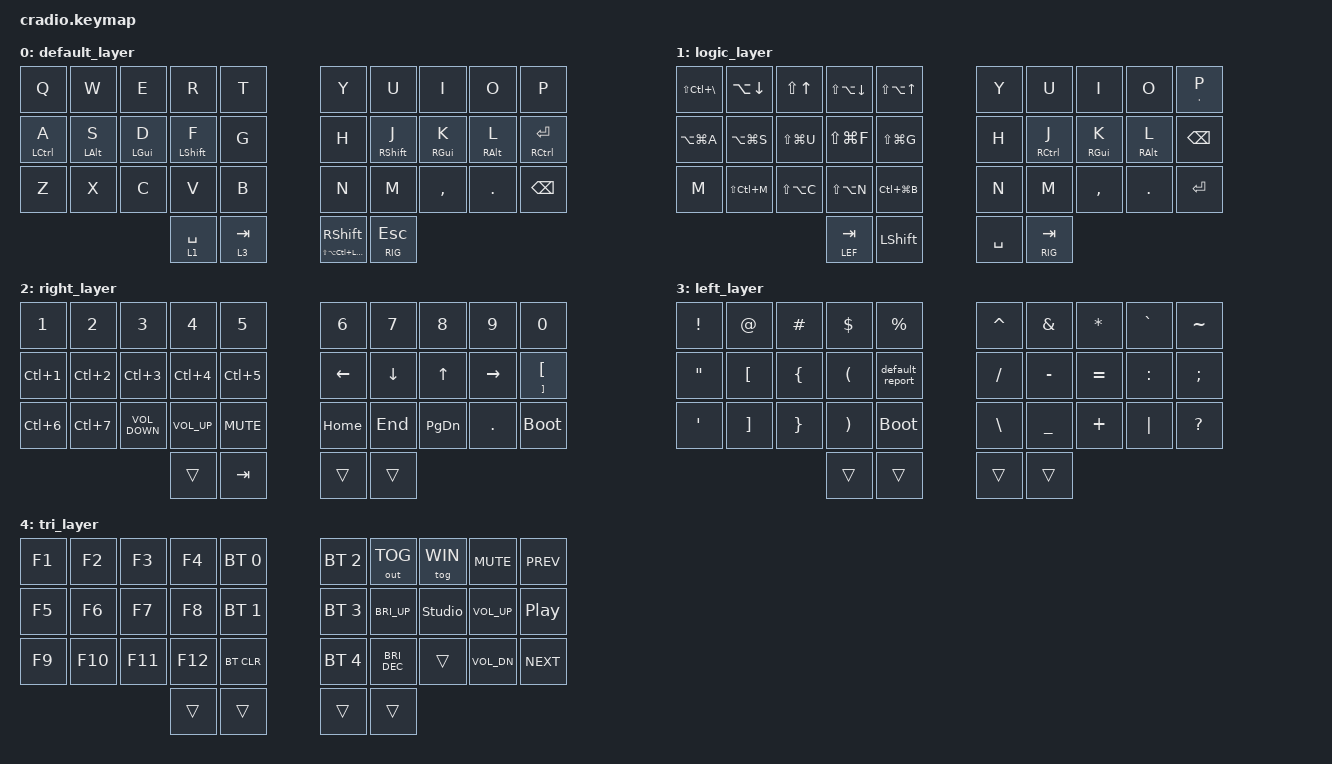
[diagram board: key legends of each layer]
// Copyright (c) 2022 The ZMK Contributors
// SPDX-License-Identifier: MIT

#include <behaviors.dtsi>
#include <dt-bindings/zmk/bt.h>
#include <dt-bindings/zmk/keys.h>
#include <dt-bindings/zmk/outputs.h>

#define MAC 0
#define WIN 1
#define RIG 2
#define LEF 3
#define TRI 4

/ {
    chosen { zmk,charmap = &charmap_us; };

    behaviors {
        ht: hold_tap {
            label = "hold_tap";
            compatible = "zmk,behavior-hold-tap";
            #binding-cells = <2>;
            flavor = "tap-preferred";
            tapping-term-ms = <200>;
            quick-tap-ms = <0>;
            global-quick-tap;
            bindings = <&kp>, <&kp>;
        };

        hml: homerow_mods_left {
            compatible = "zmk,behavior-hold-tap";
            label = "HOMEROW_MODS_LEFT";
            bindings = <&kp>, <&kp>;

            #binding-cells = <2>;
            tapping-term-ms = <190>;
            quick-tap-ms = <200>;
            require-prior-idle-ms = <170>;
            hold-trigger-key-positions = <5 9 15 16 17 18 19 25 26 27 28 29 32 33 8 7 6>;
            flavor = "tap-preferred";
            hold-trigger-on-release;
        };

        hmr: homerow_mods_right {
            compatible = "zmk,behavior-hold-tap";
            label = "HOMEROW_MODS_RIGHT";
            bindings = <&kp>, <&kp>;

            #binding-cells = <2>;
            tapping-term-ms = <193>;
            quick-tap-ms = <200>;
            require-prior-idle-ms = <170>;
            hold-trigger-key-positions = <0 1 3 4 10 11 12 13 14 20 21 22 23 24 30 31>;
            flavor = "tap-preferred";
            hold-trigger-on-release;
        };

        td0: tap_dance_0 {
            compatible = "zmk,behavior-tap-dance";
            label = "TAP_DANCE_0";
            #binding-cells = <0>;
            bindings = <&kp P>, <&kp P>, <&kp APOS>;

            tapping-term-ms = <183>;
        };

        ht1: ht1 {
            compatible = "zmk,behavior-hold-tap";
            label = "HT1";
            bindings = <&kp>, <&kp>;

            #binding-cells = <2>;
            flavor = "tap-preferred";
            quick-tap-ms = <0>;
            require-prior-idle-ms = <0>;
            tapping-term-ms = <287>;
            hold-trigger-on-release;
        };

        hmla: homerow_mods_a_key {
            compatible = "zmk,behavior-hold-tap";
            label = "HOMEROW_MODS_A";
            bindings = <&kp>, <&kp>;

            #binding-cells = <2>;
            tapping-term-ms = <210>;
            quick-tap-ms = <200>;
            require-prior-idle-ms = <185>;
            hold-trigger-key-positions = <5 9 15 16 17 18 19 25 26 27 28 29 32 33 8 7 6>;
            flavor = "tap-preferred";
            hold-trigger-on-release;
        };

        hmrc: homerow_mods_custom {
            compatible = "zmk,behavior-hold-tap";
            label = "HOMEROW_MODS_CUSTOM";
            bindings = <&kp>, <&kp>;

            #binding-cells = <2>;
            tapping-term-ms = <250>;
            quick-tap-ms = <200>;
            require-prior-idle-ms = <185>;
            flavor = "tap-preferred";
            hold-trigger-key-positions = <0 1 2 3 4 10 11 12 13 14 20 21 22 23 24 30 31>;
            hold-trigger-on-release;
        };

        hmls: homerow_mods_s_key {
            compatible = "zmk,behavior-hold-tap";
            label = "HOMEROW_MODS_S_KEY";
            bindings = <&kp>, <&kp>;

            #binding-cells = <2>;
            tapping-term-ms = <209>;
            quick-tap-ms = <100>;
            require-prior-idle-ms = <0>;
            hold-trigger-key-positions = <5 9 15 16 17 18 19 25 26 27 28 29 32 33 8 7 6>;
            flavor = "tap-preferred";
            hold-trigger-on-release;
        };

        ht2: ht2 {
            compatible = "zmk,behavior-hold-tap";
            label = "HT2";
            bindings = <&kp>, <&kp>;

            #binding-cells = <2>;
            tapping-term-ms = <293>;
            hold-trigger-on-release;
        };

        ht3: ht3 {
            compatible = "zmk,behavior-hold-tap";
            label = "HT3";
            bindings = <&mo>, <&kp>;

            #binding-cells = <2>;
            tapping-term-ms = <293>;
            hold-trigger-on-release;
            flavor = "tap-preferred";
            require-prior-idle-ms = <70>;
        };

        mmv {
            acceleration-exponent = <1>;      // 1
            time-to-max-speed-ms = <300>;    // 40
            delay-ms = <0>;                   // 0
        };

        msc {
            acceleration-exponent = <0>;      // 0
            time-to-max-speed-ms = <40>;      // 500
            delay-ms = <0>;                   // 10
        };
    };

    conditional_layers {
        compatible = "zmk,conditional-layers";

        tri_layer {
            if-layers = <RIG LEF>;
            then-layer = <TRI>;
        };
    };

    combos {
        compatible = "zmk,combos";

        focus_next_win {
            bindings = <&kp LG(TILDE)>;
            key-positions = <7 8>;
            require-prior-idle-ms = <260>;
            timeout-ms = <30>;
        };

        copy {
            bindings = <&kp LG(C)>;
            key-positions = <7 6>;
            require-prior-idle-ms = <260>;
        };

        paste {
            bindings = <&kp LG(V)>;
            key-positions = <6 5>;
            require-prior-idle-ms = <260>;
        };

        escape {
            bindings = <&kp ESC>;
            key-positions = <0 1>;
            require-prior-idle-ms = <260>;
        };

        question_mark {
            bindings = <&kp QUESTION>;
            key-positions = <28 27>;
            require-prior-idle-ms = <275>;
        };

        foward_slash {
            bindings = <&kp SLASH>;
            key-positions = <27 26>;
            require-prior-idle-ms = <275>;
        };

        move_file {
            bindings = <&kp LG(LA(V))>;
            key-positions = <6 5 7>;
        };

        l_ctrl_opt_cmnd {
            bindings = <&kp LC(LA(LEFT_GUI))>;
            key-positions = <31 20>;
        };

        l_ctrl_cmnd_shift {
            bindings = <&kp LC(LG(LEFT_SHIFT))>;
            key-positions = <10 31>;
        };

        l_option_cmnd_shift {
            bindings = <&kp LG(LA(LEFT_SHIFT))>;
            key-positions = <31 0>;
        };

        r_ctrl_option_cmnd {
            bindings = <&kp RC(RA(RIGHT_GUI))>;
            key-positions = <32 29>;
        };

        r_ctrl_cmnd_shift {
            bindings = <&kp RC(RG(RSHIFT))>;
            key-positions = <32 19>;
        };

        r_option_cmnd_shift {
            bindings = <&kp RA(RG(RSHIFT))>;
            key-positions = <32 9>;
        };

        meh {
            bindings = <&kp RC(RA(RSHIFT))>;
            key-positions = <32 33>;
        };

        screenshot {
            bindings = <&kp LG(LS(NUMBER_3))>;
            key-positions = <2 3 1>;
        };

        screenshot_select {
            bindings = <&kp LG(LS(NUMBER_4))>;
            key-positions = <4 3 2>;
        };

        undo {
            bindings = <&kp LG(Z)>;
            key-positions = <4 3 13 14>;
        };

        redo {
            bindings = <&kp LG(LS(Z))>;
            key-positions = <5 6 15 16>;
        };

        left {
            bindings = <&kp LEFT>;
            key-positions = <26 16>;
        };

        down {
            bindings = <&kp DOWN>;
            key-positions = <27 17>;
        };

        up {
            bindings = <&kp UP>;
            key-positions = <28 18>;
        };

        right {
            bindings = <&kp RIGHT>;
            key-positions = <29 19>;
        };

        force_quit {
            bindings = <&kp LG(LA(ESC))>;
            key-positions = <3 4 5>;
        };

        num_layer {
            bindings = <&mo 2>;
            key-positions = <30 31>;
            require-prior-idle-ms = <50>;
        };

        single_quotes {
            bindings = <&kp SINGLE_QUOTE>;
            key-positions = <21 22>;
            timeout-ms = <30>;
            require-prior-idle-ms = <260>;
        };

        double_quotes {
            bindings = <&kp DOUBLE_QUOTES>;
            key-positions = <23 22>;
            timeout-ms = <30>;
            require-prior-idle-ms = <260>;
        };
    };

    keymap {
        compatible = "zmk,keymap";

        default_layer {
            bindings = <
&kp Q          &kp W         &kp E                             &kp R          &kp T  &kp Y  &kp U          &kp I        &kp O         &kp P
&hmla LCTRL A  &hmls LALT S  &hml LGUI D                       &hml LSHIFT F  &kp G  &kp H  &hmr RSHIFT J  &hmr RGUI K  &hmrc RALT L  &hmrc RCTRL ENTER
&kp Z          &kp X         &kp C                             &kp V          &kp B  &kp N  &kp M          &kp COMMA    &kp PERIOD    &kp BSPC
&ht3 1 SPACE   &lt 3 TAB     &ht2 LS(LA(LC(LEFT_GUI))) RSHIFT  &lt RIG ESC
            >;
        };

        logic_layer {
            bindings = <
&kp LS(LC(BACKSLASH))  &kp LA(DOWN_ARROW)  &kp LS(UP_ARROW)  &kp LS(LA(DOWN_ARROW))  &kp LS(LA(UP_ARROW))  &kp Y  &kp U        &kp I       &kp O       &ht APOS P
&kp LA(LG(A))          &kp LA(LG(S))       &kp LS(LG(U))     &kp LS(LG(F))           &kp LS(LG(G))         &kp H  &ht RCTRL J  &ht RGUI K  &ht RALT L  &kp BSPC
&kp M                  &kp LS(LC(M))       &kp LS(LA(C))     &kp LS(LA(N))           &kp LC(LG(B))         &kp N  &kp M        &kp COMMA   &kp DOT     &kp ENTER
&lt LEF TAB            &kp LSHIFT          &kp SPACE         &lt RIG TAB
            >;
        };

        right_layer {
            bindings = <
&kp N1            &kp N2            &kp N3             &kp N4            &kp N5      &kp N6    &kp N7    &kp N8         &kp N9      &kp N0
&kp LC(NUMBER_1)  &kp LC(NUMBER_2)  &kp LC(NUMBER_3)   &kp LC(NUMBER_4)  &kp LC(N5)  &kp LEFT  &kp DOWN  &kp UP         &kp RIGHT   &ht RIGHT_BRACKET LEFT_BRACKET
&kp LC(NUMBER_6)  &kp LC(N7)        &kp C_VOLUME_DOWN  &kp C_VOLUME_UP   &kp K_MUTE  &kp HOME  &kp END   &kp PAGE_DOWN  &kp PERIOD  &bootloader
&trans            &kp TAB           &trans             &trans
            >;
        };

        left_layer {
            bindings = <
&kp EXCL  &kp AT    &kp HASH  &kp DLLR  &kp PRCNT        &kp CARET  &kp AMPS   &kp ASTRK  &kp GRAVE  &kp TILDE
&kp DQT   &kp LBKT  &kp LBRC  &kp LPAR  &default_report  &kp FSLH   &kp MINUS  &kp EQUAL  &kp COLON  &kp SEMI
&kp SQT   &kp RBKT  &kp RBRC  &kp RPAR  &bootloader      &kp BSLH   &kp UNDER  &kp PLUS   &kp PIPE   &kp QMARK
&trans    &trans    &trans    &trans
            >;
        };

        tri_layer {
            bindings = <
&kp F1  &kp F2   &kp F3   &kp F4   &bt BT_SEL 0  &bt BT_SEL 2  &out OUT_TOG   &tog WIN        &kp C_MUTE    &kp C_PREV
&kp F5  &kp F6   &kp F7   &kp F8   &bt BT_SEL 1  &bt BT_SEL 3  &kp C_BRI_UP   &studio_unlock  &kp C_VOL_UP  &kp C_PP
&kp F9  &kp F10  &kp F11  &kp F12  &bt BT_CLR    &bt BT_SEL 4  &kp C_BRI_DEC  &trans          &kp C_VOL_DN  &kp C_NEXT
&trans  &trans   &trans   &trans
            >;
        };
    };
};
